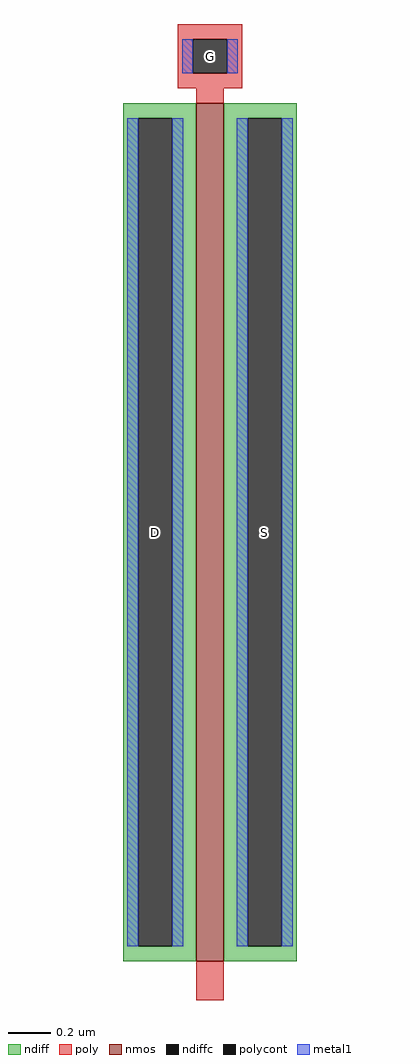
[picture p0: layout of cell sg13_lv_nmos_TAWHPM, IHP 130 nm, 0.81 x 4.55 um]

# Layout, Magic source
magic
tech ihp-sg13g2
magscale 1 2
<< nmos >>
rect -13 -419 13 381
<< ndiff >>
rect -81 367 -13 381
rect -81 -405 -67 367
rect -35 -405 -13 367
rect -81 -419 -13 -405
rect 13 367 81 381
rect 13 -405 35 367
rect 67 -405 81 367
rect 13 -419 81 -405
<< ndiffc >>
rect -67 -405 -35 367
rect 35 -405 67 367
<< poly >>
rect -30 441 30 455
rect -30 409 -16 441
rect 16 409 30 441
rect -30 395 30 409
rect -13 381 13 395
rect -13 -455 13 -419
<< polycont >>
rect -16 409 16 441
<< metal1 >>
rect -26 409 -16 441
rect 16 409 26 441
rect -77 -405 -67 367
rect -35 -405 -25 367
rect 25 -405 35 367
rect 67 -405 77 367
<< labels >>
rlabel ndiffc -51 -19 -51 -19 0 D
port 1 nsew
rlabel ndiffc 51 -19 51 -19 0 S
port 2 nsew
rlabel polycont 0 425 0 425 0 G
port 3 nsew
<< properties >>
string gencell sg13_lv_nmos
string library sg13g2
string parameters w 4 l 0.13 m 1 nf 1 diffcov 100 polycov 100 guard 0 glc 1 grc 1 gtc 1 gbc 1 tbcov 100 rlcov 100 topc 1 botc 0 poverlap 0 doverlap 1 lmin 0.13 wmin 0.15 class mosfet compatible {sg13_lv_nmos sg13_hv_nmos} full_metal 1 conn_gates 0 gate_ring 0 doports 1 viasrc 0 viadrn 0 viagate 0 ccols 1 viagb 0 viagr 0 viagl 0 viagt 0
<< end >>
